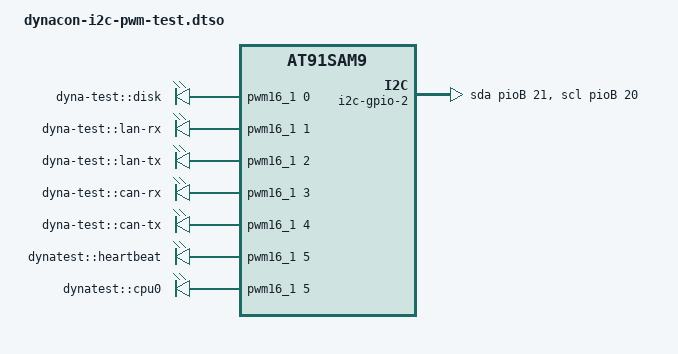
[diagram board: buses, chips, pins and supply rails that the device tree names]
/*
 *  Copyright (C) 2017 DYNA Instruments GmbH,
 *                2017 Johannes Lode <linuxer@quantentunnel.de>
 *
 * DT-Overlay für PWM-Tests mit PCA9685 und einigen LEDs
 *
 * This program is free software; you can redistribute it and/or modify
 * it under the terms of the GNU General Public License version 2 as
 * published by the Free Software Foundation.
 */
/dts-v1/;
/plugin/;

/ {
	compatible = "dyna,dyncacon", "guf,eco-g45", "atmel,at91sam9g45", "atmel,at91sam9";

        /* identification */
        part-number = "DYNAconII-I2C-pwm-test";
        version = "0100";
 
        /* state the resources this overlay uses */
        exclusive-use ="PB20", "PB21";
 
	fragment@0 {
		i2c-gpio-2 {
			compatible = "i2c-gpio";
			// status = "disabled";

			gpios = <&pioB 21 0 // sda, DISP-D6, PB21
				 &pioB 20 0 // scl, DISP-D7, PB20
				>;
			// i2c-gpio,sda-open-drain;	// nicht einschalten, hat im Test nicht funktioniert
			// i2c-gpio,scl-open-drain;	// nicht einschalten, hat im Test nicht funktioniert
			i2c-gpio,delay-us = <3>;	// ~100 kHz
			#address-cells = <1>;
			#size-cells = <0>;
		
			pwm16_1: pca9685@40 {
				compatible = "nxp,pca9685-pwm";
				status = "disabled";
				#pwm-cells = <2>;
				reg = <0x40>;
			//	invert;
			//	open-drain;
			};
		};
		pwmleds1 {
			compatible = "pwm-leds";
			// status = "disabled";

			pwmled0 {
				label = "dyna-test::disk";
				pwms = <&pwm16_1 0 700000>;
				max-brightness = <255>;
				linux,default-trigger = "nand-disk";
			};

			pwmled1 {
				label = "dyna-test::lan-rx";
				pwms = <&pwm16_1 1 700000>;
				max-brightness = <255>;
				linux,default-trigger = "netdev";
			};

			pwmled2 {
				label = "dyna-test::lan-tx";
				pwms = <&pwm16_1 2 700000>;
				max-brightness = <255>;
				linux,default-trigger = "netdev";
			};

			pwmled3 {
				label = "dyna-test::can-rx";
				pwms = <&pwm16_1 3 700000>;
				max-brightness = <255>;
				linux,default-trigger = "netdev";
			};

			pwmled4 {
				label = "dyna-test::can-tx";
				pwms = <&pwm16_1 4 700000>;
				max-brightness = <255>;
				linux,default-trigger = "netdev";
			};

			pwmled5 {
				label = "dynatest::heartbeat";
				pwms = <&pwm16_1 5 700000>;
				max-brightness = <255>;
				linux,default-trigger = "heartbeat";
			};

			pwmled6 {
				label = "dynatest::cpu0";
				pwms = <&pwm16_1 5 700000>;
				max-brightness = <255>;
				linux,default-trigger = "cpu0";
			};
		};
        };
};

